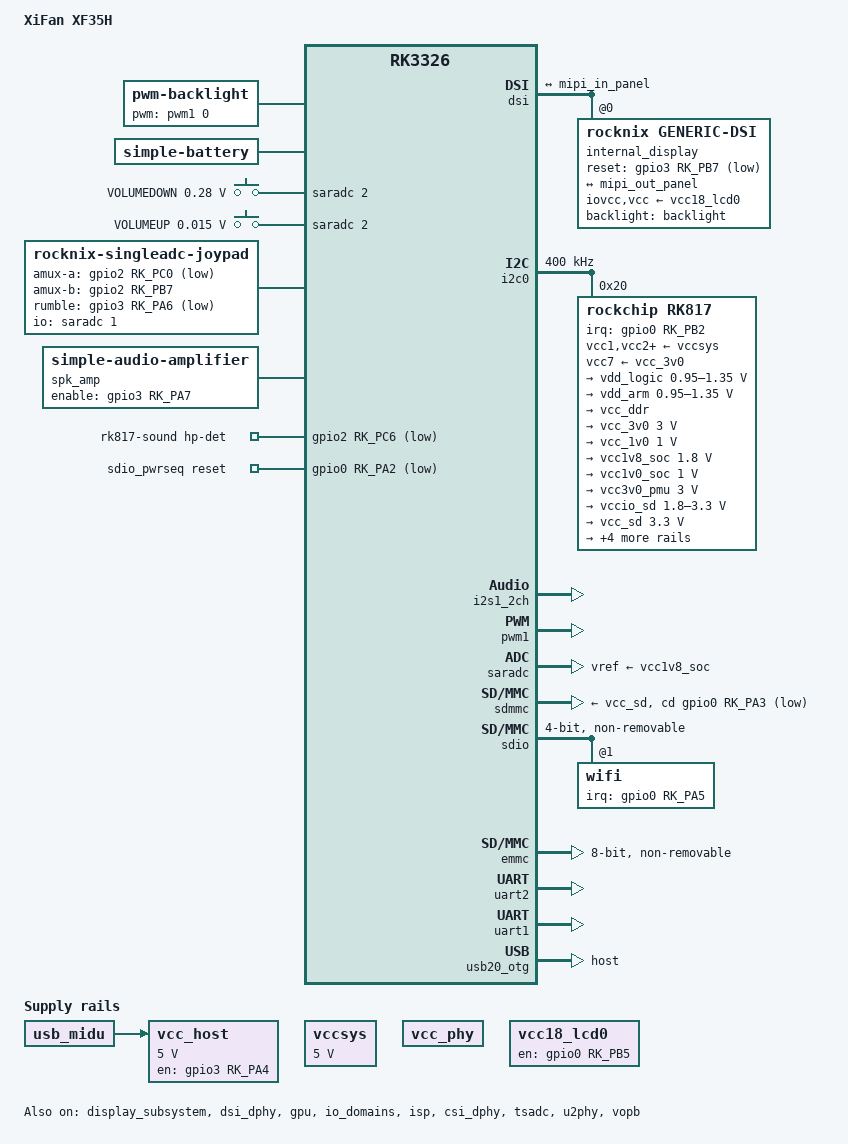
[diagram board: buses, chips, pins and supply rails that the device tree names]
// SPDX-License-Identifier: (GPL-2.0+ OR MIT)
/*
 * Copyright (c) 2019 Hardkernel Co., Ltd
 * Copyright (c) 2020 Theobroma Systems Design und Consulting GmbH
 * Copyright (c) 2022 Maya Matuszczyk <maccraft123mc@gmail.com>
 */

/dts-v1/;
#include <dt-bindings/gpio/gpio.h>
#include <dt-bindings/input/input.h>
#include <dt-bindings/leds/common.h>
#include <dt-bindings/pinctrl/rockchip.h>
#include "rk3326.dtsi"

/ {
    model = "XiFan XF35H";
    compatible = "xifan,xf35h", "rockchip,rk3326";
     
    aliases {
        mmc1 = &sdmmc;
	mmc0 = &emmc;
	mmc2 = &sdio;
    };

	chosen {
		systemd.debug_shell = "ttyS0";
	};

    backlight: backlight {
       compatible = "pwm-backlight";
       pwms = <&pwm1 0 25000 0>;
       brightness-levels = <
         0   1   2   3   4   5   6   7
         8   9  10  11  12  13  14  15
        16  17  18  19  20  21  22  23
        24  25  26  27  28  29  30  31
        32  33  34  35  36  37  38  39
        40  41  42  43  44  45  46  47
        48  49  50  51  52  53  54  55
        56  57  58  59  60  61  62  63
        64  65  66  67  68  69  70  71
        72  73  74  75  76  77  78  79
        80  81  82  83  84  85  86  87
        88  89  90  91  92  93  94  95
        96  97  98  99 100 101 102 103
       104 105 106 107 108 109 110 111
       112 113 114 115 116 117 118 119
       120 121 122 123 124 125 126 127
       128 129 130 131 132 133 134 135
       136 137 138 139 140 141 142 143
       144 145 146 147 148 149 150 151
       152 153 154 155 156 157 158 159
       160 161 162 163 164 165 166 167
       168 169 170 171 172 173 174 175
       176 177 178 179 180 181 182 183
       184 185 186 187 188 189 190 191
       192 193 194 195 196 197 198 199
       200 201 202 203 204 205 206 207
       208 209 210 211 212 213 214 215
       216 217 218 219 220 221 222 223
       224 225 226 227 228 229 230 231
       232 233 234 235 236 237 238 239
       240 241 242 243 244 245 246 247
       248 249 250 251 252 253 254 255>;
       default-brightness-level = <128>;
    };

    battery: battery {
        compatible = "simple-battery";
        charge-full-design-microamp-hours = <3000000>;
        charge-term-current-microamp = <200000>;
        constant-charge-current-max-microamp = <1500000>;
        constant-charge-voltage-max-microvolt = <4200000>;
        factory-internal-resistance-micro-ohms = <100000>;
        voltage-max-design-microvolt = <4100000>;
        voltage-min-design-microvolt = <3300000>;

        ocv-capacity-celsius = <20>;
        ocv-capacity-table-0 =  
            <4046950 100>, <4001920 95>, <3967900 90>, <3940000 85>,
            <3910000 80>, <3870000 75>, <3830000 70>, <3790000 65>,
            <3750000 60>, <3720000 55>, <3690000 50>, <3650000 45>,
            <3610000 40>, <3570000 35>, <3540000 30>, <3500000 25>,
            <3460000 20>, <3420000 15>, <3380000 10>, <3340000 5>,
            <3300000 0>;
    };

	adc_keys: adc-keys {
		compatible = "adc-keys";
		io-channels = <&saradc 2>;
		io-channel-names = "buttons";
		keyup-threshold-microvolt = <1800000>;
		poll-interval = <60>;

		vol-down-key {
		           label = "VOLUMEDOWN";
		           linux,code = <KEY_VOLUMEDOWN>;
			press-threshold-microvolt = <280000>;
		};

		vol-up-key {
		           label = "VOLUMEUP";
		           linux,code = <KEY_VOLUMEUP>;
			press-threshold-microvolt = <15000>;
		};
	};

	joypad: rocknix-singleadc-joypad {
		compatible = "rocknix-singleadc-joypad";

		joypad-name = "retrogame_joypad";
		joypad-product = <0x1101>;
		joypad-revision = <0x0100>;
		joypad-vendor = <0x484B>;

		status = "okay";

		/* gpio pincontrol setup */
                pinctrl-names = "default";
                pinctrl-0 = <&btn_pins_ctrl>;

		/* Analog mux define */
		io-channel-names = "amux_adc";
		io-channels = <&saradc 1>;

		/* adc mux channel count */
		amux-count = <4>;
		amux-channel-mapping = <2 3 1 0>;
		/* adc mux select(a,b) gpio */
		amux-a-gpios = <&gpio2 RK_PC0 GPIO_ACTIVE_LOW>;
		amux-b-gpios = <&gpio2 RK_PB7 GPIO_ACTIVE_HIGH>;
		/* adc mux enable gpio */
		// amux-en-gpios = <&gpio2 RK_PB4 GPIO_ACTIVE_LOW>;

		rumble-gpio = <&gpio3 RK_PA6 GPIO_ACTIVE_LOW>;

		/* adc calculate scale */
		button-adc-scale = <2>;

		/* adc deadzone range  */
		button-adc-deadzone = <64>;

		/*
		  specifies fuzz value that is used to filter noise from
		  the event stream.
		*/
		button-adc-fuzz = <32>;
		button-adc-flat = <32>;

		/*
		  Analog Stick data tuning value(precent)
		  p = positive direction, n = negative direction
		  report value = (real_adc_data * tuning_value) / 100
		*/
		abs_x-p-tuning = <200>;
		abs_x-n-tuning = <200>;

		abs_y-p-tuning = <200>;
		abs_y-n-tuning = <200>;

		abs_rx-p-tuning = <200>;
		abs_rx-n-tuning = <200>;

		abs_ry-p-tuning = <200>;
		abs_ry-n-tuning = <200>;

		/* poll device interval (ms), adc read interval */
		poll-interval = <10>;

		/* required for RG351MP */
		invert-absx;
		invert-absy;
    
        /* gpio button auto repeat set value : default disable */
        /*
        autorepeat;
        */

        /*
        *** MagicX XU10 - layoout ***
        |-------------------------------|
        | sw14  sw17         sw16  sw15 |
        |-----|-------------------|-----|
        |     |                   |     |
        |vol+ |                   | sw13|
        |vol- |                   |     |
        |     |    LCD Display    |     |
        |     |                   |     |
        |     |                   |     |
        |     |-------------------|     |
        |         sw9     sw10          |
        |                               |
        |     sw1              sw7      |
        |  sw3   sw4        sw8   sw6   |
        |     sw2              sw5      |
        |                               |
        |          sw11   sw12          |
        |                               |
        |-------|---------------|-------|
        */

       /*
           joypad driver is poll-device driver.
           poll-device is does not support wakeup-source.
       */
		sw1 {
			gpios = <&gpio3 RK_PC6 GPIO_ACTIVE_LOW>;
			label = "GPIO DPAD-UP";
			linux,code = <BTN_DPAD_UP>;
		};
		sw2 {
			gpios = <&gpio3 RK_PC7 GPIO_ACTIVE_LOW>;
			label = "GPIO DPAD-DOWN";
			linux,code = <BTN_DPAD_DOWN>;
		};
		sw3 {
			gpios = <&gpio3 RK_PC4 GPIO_ACTIVE_LOW>;
			label = "GPIO DPAD-LEFT";
			linux,code = <BTN_DPAD_LEFT>;
		};
		sw4 {
			gpios = <&gpio3 RK_PC5 GPIO_ACTIVE_LOW>;
			label = "GPIO DPAD-RIGHT";
			linux,code = <BTN_DPAD_RIGHT>;
		};
		sw5 {
			gpios = <&gpio3 RK_PC0 GPIO_ACTIVE_LOW>;
			label = "GPIO BTN-A";
			linux,code = <BTN_EAST>;
		};
		sw6 {
			gpios = <&gpio3 RK_PC1 GPIO_ACTIVE_LOW> ;
			label = "GPIO BTN-B";
			linux,code = <BTN_SOUTH>;
		};
		sw7 {
			gpios = <&gpio3 RK_PC3 GPIO_ACTIVE_LOW>;
			label = "GPIO BTN-Y";
			linux,code = <BTN_WEST>;
		};
		sw8 {
			gpios = <&gpio3 RK_PC2 GPIO_ACTIVE_LOW>;
			label = "GPIO BTN-X";
			linux,code = <BTN_NORTH>;
		};
		sw9 {
			gpios = <&gpio3 RK_PD0 GPIO_ACTIVE_LOW>;
			label = "BTN_SELECT";
			linux,code = <BTN_SELECT>;
		};
		sw10 {
			gpios = <&gpio3 RK_PD1 GPIO_ACTIVE_LOW>;
			label = "BTN_START";
			linux,code = <BTN_START>;
		};
		/* this sw11 entry is SPECIAL, most RK3566 devices do not have
		   this physical button but for the sake of keeping compatibility
		   with ES and retroarch, this phantom button and offset will
		   allow existing userspace programs to work without doing any
		   new remapping thus saving lots of headaches and extra work */
		sw11 {
			gpios = <&gpio3 RK_PB2 GPIO_ACTIVE_LOW>;
			label = "GPIO BTN_F";
			linux,code = <BTN_MODE>;
		};
		sw12 {
			gpios = <&gpio2 RK_PB5 GPIO_ACTIVE_LOW>;
			label = "BTN_THUMBL";
			linux,code = <BTN_THUMBL>;
		};
		sw13 {
			gpios = <&gpio2 RK_PB6 GPIO_ACTIVE_LOW>;
			label = "BTN_THUMBR";
			linux,code = <BTN_THUMBR>;
		};
		sw14 {
			gpios = <&gpio3 RK_PB3 GPIO_ACTIVE_LOW>;
			label = "GPIO BTN_TR";
			linux,code = <BTN_TR>;
		};
		sw15 {
			gpios = <&gpio3 RK_PB4 GPIO_ACTIVE_LOW>;
			label = "GPIO BTN_TR2";
			linux,code = <BTN_TR2>;
		};
		sw16 {
			gpios = <&gpio3 RK_PB5 GPIO_ACTIVE_LOW>;
			label = "GPIO BTN_TL";
			linux,code = <BTN_TL>;
		};
		sw17 {
			gpios = <&gpio3 RK_PB6 GPIO_ACTIVE_LOW>;
			label = "GPIO BTN_TL2";
			linux,code = <BTN_TL2>;
		};
	};

	spk_amp: audio-amplifier {
		compatible = "simple-audio-amplifier";
		enable-gpios = <&gpio3 RK_PA7 GPIO_ACTIVE_HIGH>;
		pinctrl-0 = <&spk_amp_enable_h>;
		pinctrl-names = "default";
		sound-name-prefix = "Speaker Amp";
	};

    rk817-sound {
       compatible = "simple-audio-card";
       pinctrl-names = "default";
       pinctrl-0 = <&hp_det>;
       simple-audio-card,name = "rk817_ext";
       simple-audio-card,aux-devs = <&spk_amp>;
       simple-audio-card,format = "i2s";
       simple-audio-card,hp-det-gpio = <&gpio2 RK_PC6 GPIO_ACTIVE_LOW>;
       simple-audio-card,mclk-fs = <256>;
       simple-audio-card,widgets =
           "Microphone", "Mic Jack",
           "Headphone", "Headphones",
           "Speaker", "Speaker";
       simple-audio-card,routing =
           "MICL", "Mic Jack",
           "Headphones", "HPOL",
           "Headphones", "HPOR",
           "Speaker", "SPKO";

       simple-audio-card,codec {
           sound-dai = <&rk817>;
       };

       simple-audio-card,cpu {
           sound-dai = <&i2s1_2ch>;
       };
    };

    vccsys: vccsys {
       compatible = "regulator-fixed";
       regulator-name = "vcc3v8_sys";
       regulator-always-on;
       regulator-boot-on;
       regulator-min-microvolt = <5000000>;
       regulator-max-microvolt = <5000000>;
    };

	vcc-phy-regulator {
		compatible = "regulator-fixed";
		regulator-name = "vcc_phy";
		regulator-always-on;
		regulator-boot-on;
	};

	vcc18_lcd0: vcc18-lcd0 {
		compatible = "regulator-fixed";
		regulator-name = "vcc18_lcd0_n";
		gpio = <&gpio0 RK_PB5 GPIO_ACTIVE_HIGH>;
		enable-active-high;
		pinctrl-0 = <&vcc18_lcd_n>;
		pinctrl-names = "default";
		regulator-boot-on;

		regulator-state-mem {
			regulator-off-in-suspend;
		};
	};
    
    vcc_host: vcc_host {
        compatible = "regulator-fixed";
        regulator-name = "vcc_host";
        regulator-min-microvolt = <5000000>;
        regulator-max-microvolt = <5000000>;
        gpio = <&gpio3 RK_PA4 GPIO_ACTIVE_HIGH>;
	pinctrl-0 = <&vcc5_usb>;
	pinctrl-names = "default";
        enable-active-high;
        regulator-always-on;
        regulator-boot-on;
        vin-supply = <&usb_midu>;
    };

	sdio_pwrseq: sdio-pwrseq {
		compatible = "mmc-pwrseq-simple";
		/*clocks = <&rk817 1>;
		clock-names = "ext_clock";
		*/
		pinctrl-0 = <&wifi_enable_h>;
		pinctrl-names = "default";
		post-power-on-delay-ms = <2000>;
		reset-gpios = <&gpio0 RK_PA2 GPIO_ACTIVE_LOW>;
	};
};

&dmc {
    center-supply = <&vdd_logic>;
};

&cpu0 {
    cpu-supply = <&vdd_arm>;
};

&cpu1 {
    cpu-supply = <&vdd_arm>;
};

&cpu2 {
    cpu-supply = <&vdd_arm>;
};

&cpu3 {
    cpu-supply = <&vdd_arm>;
};

&cru {
    assigned-clocks = <&cru PLL_NPLL>,
        <&cru ACLK_BUS_PRE>, <&cru ACLK_PERI_PRE>,
        <&cru HCLK_BUS_PRE>, <&cru HCLK_PERI_PRE>,
        <&cru PCLK_BUS_PRE>, <&cru SCLK_GPU>;

    assigned-clock-rates = <1188000000>,
        <200000000>, <200000000>,
        <150000000>, <150000000>,
        <100000000>, <200000000>;
};

&display_subsystem {
    status = "okay";
};

&dsi {
    status = "okay";

    ports {
        mipi_out: port@1 {
          reg = <1>;

          mipi_out_panel: endpoint {
              remote-endpoint = <&mipi_in_panel>;
          };
        };
    };

    internal_display: panel@0 {
	compatible = "rocknix,generic-dsi";
        iovcc-supply = <&vcc18_lcd0>;
        vcc-supply = <&vcc18_lcd0>;
        reg = <0>;
        backlight = <&backlight>;
        reset-gpios = <&gpio3 RK_PB7 GPIO_ACTIVE_LOW>;
        pinctrl-names = "default";
        pinctrl-0 = <&lcd_rst>;
            panel_description =
                "G size=153,85 delays=20,20,20,120,20 format=rgb888 lanes=4 flags=0xe03",

                "M clock=30000 horizontal=640,150,50,150 vertical=480,20,6,12 default=1",
                "M clock=30000 horizontal=640,150,61,150 vertical=480,20,88,12",
                "M clock=30000 horizontal=640,150,60,150 vertical=480,20,88,12",
                "M clock=30010 horizontal=640,150,72,150 vertical=480,20,81,12",
                "M clock=30130 horizontal=640,150,60,150 vertical=480,20,12,12",
                "M clock=35920 horizontal=640,150,59,150 vertical=480,20,90,12",
                "M clock=31440 horizontal=640,150,61,150 vertical=480,20,12,12",
                "M clock=31080 horizontal=640,150,60,150 vertical=480,20,6,12",
                "M clock=32750 horizontal=640,150,96,150 vertical=480,20,14,12",
                "M clock=45250 horizontal=640,150,66,150 vertical=480,20,84,12",
                "M clock=46620 horizontal=640,150,60,150 vertical=480,20,6,12",
                "M clock=62160 horizontal=640,150,60,150 vertical=480,20,6,12",

                "I seq=b9f11283",
                "I seq=b1000000da80",
                "I seq=b2001370",
                "I seq=b31010282803ff00000000",
                "I seq=b480",
                "I seq=b50a0a",
                "I seq=b68282",
                "I seq=b82662f063",
                "I seq=ba338105f90e0e2000000000000000442500900a0000014f01000037",
                "I seq=bc47",
                "I seq=bf021100",
                "I seq=c0737350500000125000",
                "I seq=c15300323277d1cccc77773333",
                "I seq=c68200bfff00ff",
                "I seq=c7b8000a000000",
                "I seq=c810401e02",
                "I seq=cc0b",
                "I seq=e000070d37353f4144060c0d0f111012141a00070d37353f4144060c0d0f111012141a",
                "I seq=e307070b0b0b0b00000000ff00c010",
                "I seq=e9c810020000b0b11131232880b0b127080004020000000004020000008888ba60240888888888888888ba713518888888888800000001000000000000000000",
                "I seq=ea970a820203070000000000008188ba17538888888888888088ba0642888888888888230000028000000000000000000000000000000000000000000000",
                "I seq=efffff01",
                "I seq=11 wait=200",
                "I seq=29 wait=20";
        port {
            mipi_in_panel: endpoint {
                remote-endpoint = <&mipi_out_panel>;
            };
        };
    };
};

&dsi_dphy {
    status = "okay";
};

&gpu {
    mali-supply = <&vdd_logic>;
    status = "okay";
};

&i2c0 {
    clock-frequency = <400000>;
    i2c-scl-falling-time-ns = <16>;
    i2c-scl-rising-time-ns = <280>;
    status = "okay";

    rk817: pmic@20 {
        compatible = "rockchip,rk817";
        reg = <0x20>;
        interrupt-parent = <&gpio0>;
        interrupts = <RK_PB2 IRQ_TYPE_LEVEL_LOW>;
        clock-output-names = "rk808-clkout1", "xin32k";
        clock-names = "mclk";
        clocks = <&cru SCLK_I2S1_OUT>;
        pinctrl-names = "default";
        pinctrl-0 = <&pmic_int>, <&i2s1_2ch_mclk>;
        rockchip,system-power-controller;
        wakeup-source;
        #clock-cells = <1>;
        #sound-dai-cells = <0>;

        vcc1-supply = <&vccsys>;
        vcc2-supply = <&vccsys>;
        vcc3-supply = <&vccsys>;
        vcc4-supply = <&vccsys>;
        vcc5-supply = <&vccsys>;
        vcc6-supply = <&vccsys>;
        vcc7-supply = <&vcc_3v0>;
        vcc8-supply = <&vccsys>;

    regulators {
        vdd_logic: DCDC_REG1 {
              regulator-name = "vdd_logic";
              regulator-min-microvolt = <950000>;
              regulator-max-microvolt = <1350000>;
	      regulator-initial-mode = <0x02>;
              regulator-ramp-delay = <6001>;
              regulator-always-on;
              regulator-boot-on;

              regulator-state-mem {
                  regulator-on-in-suspend;
                  regulator-suspend-microvolt = <950000>;
              };
        };

        vdd_arm: DCDC_REG2 {
              regulator-name = "vdd_arm";
              regulator-min-microvolt = <950000>;
              regulator-max-microvolt = <1350000>;
              regulator-ramp-delay = <6001>;
	      regulator-initial-mode = <0x02>;
              regulator-always-on;
              regulator-boot-on;

              regulator-state-mem {
                  regulator-off-in-suspend;
                  regulator-suspend-microvolt = <950000>;
              };
        };

        vcc_ddr: DCDC_REG3 {
              regulator-name = "vcc_ddr";
              regulator-always-on;
              regulator-boot-on;
	      regulator-initial-mode = <0x02>;

              regulator-state-mem {
                  regulator-on-in-suspend;
              };
        };

        vcc_3v0: DCDC_REG4 {
              regulator-name = "vcc_3v0";
              regulator-min-microvolt = <3000000>;
              regulator-max-microvolt = <3000000>;
	      regulator-initial-mode = <0x02>;
              regulator-always-on;
              regulator-boot-on;

              regulator-state-mem {
                  regulator-off-in-suspend;
                  regulator-suspend-microvolt = <3000000>;
              };
        };

        vcc_1v0: LDO_REG1 {
              regulator-name = "vcc_1v0";
              regulator-always-on;
              regulator-boot-on;
              regulator-min-microvolt = <1000000>;
              regulator-max-microvolt = <1000000>;

              regulator-state-mem {
                  regulator-on-in-suspend;
                  regulator-suspend-microvolt = <1000000>;
              };
        };

        vcc1v8_soc: LDO_REG2 {
              regulator-name = "vcc1v8_soc";
              regulator-min-microvolt = <1800000>;
              regulator-max-microvolt = <1800000>;
              regulator-always-on;
              regulator-boot-on;

              regulator-state-mem {
                  regulator-on-in-suspend;
                  regulator-suspend-microvolt = <1800000>;
              };
        };

        vcc1v0_soc: LDO_REG3 {
              regulator-name = "vcc1v0_soc";
              regulator-min-microvolt = <1000000>;
              regulator-max-microvolt = <1000000>;
              regulator-always-on;
              regulator-boot-on;

              regulator-state-mem {
                  regulator-on-in-suspend;
                  regulator-suspend-microvolt = <1000000>;
              };
        };

        vcc3v0_pmu: LDO_REG4 {
              regulator-name = "vcc3v0_pmu";
              regulator-min-microvolt = <3000000>;
              regulator-max-microvolt = <3000000>;
              regulator-always-on;
              regulator-boot-on;

              regulator-state-mem {
                  regulator-on-in-suspend;
                  regulator-suspend-microvolt = <3000000>;
              };
        };

        vccio_sd: LDO_REG5 {
              regulator-name = "vccio_sd";
              regulator-min-microvolt = <1800000>;
              regulator-max-microvolt = <3300000>;
              regulator-always-on;
              regulator-boot-on;

              regulator-state-mem {
                  regulator-on-in-suspend;
                  regulator-suspend-microvolt = <3300000>;
              };
        };

        vcc_sd: LDO_REG6 {
              regulator-name = "vcc_sd";
              regulator-min-microvolt = <3300000>;
              regulator-max-microvolt = <3300000>;

              regulator-state-mem {
                  regulator-on-in-suspend;
                  regulator-suspend-microvolt = <3300000>;
              };
        };

        vcc2v8_dvp: LDO_REG7 {
              regulator-name = "vcc2v8_dvp";
              regulator-min-microvolt = <1800000>;
              regulator-max-microvolt = <3300000>;
              regulator-always-on;
              regulator-boot-on;

              regulator-state-mem {
              regulator-on-in-suspend;
                  regulator-suspend-microvolt = <3300000>;
              };
        };

        vcc3v0_dvp: LDO_REG8 {
              regulator-name = "vcc3v0_dvp";
              regulator-min-microvolt = <3300000>;
              regulator-max-microvolt = <3300000>;
              regulator-always-on;
              regulator-boot-on;

              regulator-state-mem {
                  regulator-on-in-suspend;
                  regulator-suspend-microvolt = <3300000>;
              };
        };

        vdd1v5_dvp: LDO_REG9 {
              regulator-min-microvolt = <1500000>;
              regulator-max-microvolt = <1500000>;
              regulator-name = "vdd1v5_dvp";
              regulator-always-on;
              regulator-boot-on;

              regulator-state-mem {
                  regulator-off-in-suspend;
                  regulator-suspend-microvolt = <1500000>;
              };
        };

        usb_midu: BOOST {
              regulator-name = "usb_midu";
              regulator-min-microvolt = <4700000>;
              regulator-max-microvolt = <5400000>;
              regulator-always-on;
              regulator-boot-on;
        };

    };

    rk817_charger: charger {
         monitored-battery = <&battery>;
         rockchip,resistor-sense-micro-ohms = <10000>;
         rockchip,sleep-enter-current-microamp = <300000>;
         rockchip,sleep-filter-current-microamp = <100000>;
    };

    rk817_codec: codec {
         rockchip,mic-in-differential;
    };
  };
};

/* I2S 1 Channel Used Header(P2):1(GPIO2.C3),2(.C2), 3(.C1), 4(.C5), 5(.C4) */
&i2s1_2ch {
    status = "okay";
    #sound-dai-cells = <0>;
};

&io_domains {
    vccio1-supply = <&vcc2v8_dvp>;
    vccio2-supply = <&vccio_sd>;
    vccio3-supply = <&vcc1v8_soc>;
    vccio4-supply = <&vcc_3v0>;
    vccio5-supply = <&vcc_3v0>;
    vccio6-supply = <&vcc1v8_soc>;
    status = "okay";
};

&isp {
    status = "okay";
};

&isp_mmu {
    status = "okay";
};

&pmu_io_domains {
    pmuio1-supply = <&vcc3v0_pmu>;
    pmuio2-supply = <&vcc3v0_pmu>;
    status = "okay";
};

&csi_dphy {
    status = "okay";
};

&pwm1 {
    status = "okay";
};

&saradc {
    vref-supply = <&vcc1v8_soc>;
    status = "okay";
};

&sdmmc {
    cap-sd-highspeed;
    card-detect-delay = <200>;
    cd-gpios = <&gpio0 RK_PA3 GPIO_ACTIVE_LOW>; /*[> ff370000 PD_SDCARD CD GPIO <]*/
    sd-uhs-sdr12;
    sd-uhs-sdr25;
    sd-uhs-sdr50;
    sd-uhs-sdr104;
    vmmc-supply = <&vcc_sd>;
    vqmmc-supply = <&vccio_sd>;
    status = "okay";
};

&sdio {
	bus-width = <4>;
	disable-wp;
	max-frequency = <0x2faf080>;
	keep-power-in-suspend;
	mmc-pwrseq = <&sdio_pwrseq>;
	no-mmc;
	no-sd;
	cap-sdio-irq;
	non-removable;
	cap-sd-highspeed;
	supports-sdio;
	supports-rk912;
	status = "okay";
    wifi@1 {
        reg = <1>;
        interrupt-names = "host-wake";
        interrupt-parent = <&gpio0>;
        interrupts = <RK_PA5 IRQ_TYPE_LEVEL_HIGH>;
        pinctrl-0 = <&wifi_host_wake_l>;
        pinctrl-names = "default";
    };
};

&emmc {
	no-sdio;
	no-sd;
	disable-wp;
	cap-mmc-highspeed;
	non-removable;
	bus-width = <0x08>;
	fifo-depth = <0x100>;
	max-frequency = <0x8f0d180>;
	num-slots = <0x01>; 
	status = "okay";
};

&tsadc {
    status = "okay";
};

&u2phy {
    status = "okay";

    u2phy_host: host-port {
        status = "okay";
    };

    u2phy_otg: otg-port {
        status = "okay";
    };
};

/* FIQ Header(P2): 2(RXD:GPIO2.B4),3(TXD:.B6) */
&uart2 {
    status = "okay";
    dma-names = "tx";
    pinctrl-0 = <&uart2m1_xfer>;
};

&uart1 {
    status = "okay";
};

&usb20_otg {
    status = "okay";
    dr_mode = "host";
};

&vopb {
    status = "okay";
};

&vopb_mmu {
    status = "okay";
};

&uart2m1_xfer {
	    rockchip,pins = <2 RK_PB4 2 &pcfg_pull_up>;
};

&pinctrl {
      btns {
	btn_pins_ctrl: btn-pins-ctrl {
		rockchip,pins =
			<3 RK_PC6 RK_FUNC_GPIO &pcfg_pull_up>,
			<3 RK_PC7 RK_FUNC_GPIO &pcfg_pull_up>,
			<3 RK_PC0 RK_FUNC_GPIO &pcfg_pull_up>,
			<3 RK_PC1 RK_FUNC_GPIO &pcfg_pull_up>,
			<3 RK_PC2 RK_FUNC_GPIO &pcfg_pull_up>,
			<3 RK_PC3 RK_FUNC_GPIO &pcfg_pull_up>,
			<3 RK_PC4 RK_FUNC_GPIO &pcfg_pull_up>,
			<3 RK_PC5 RK_FUNC_GPIO &pcfg_pull_up>,
			<3 RK_PD1 RK_FUNC_GPIO &pcfg_pull_up>,
			<3 RK_PB6 RK_FUNC_GPIO &pcfg_pull_up>,
			<3 RK_PD0 RK_FUNC_GPIO &pcfg_pull_up>,
			<3 RK_PB3 RK_FUNC_GPIO &pcfg_pull_up>,
			<3 RK_PB4 RK_FUNC_GPIO &pcfg_pull_up>,
			<3 RK_PB5 RK_FUNC_GPIO &pcfg_pull_up>,
			<3 RK_PB2 RK_FUNC_GPIO &pcfg_pull_up>,
			/*<2 RK_PB4 RK_FUNC_GPIO &pcfg_pull_up>,*/
			<2 RK_PB5 RK_FUNC_GPIO &pcfg_pull_up>,
			<2 RK_PB6 RK_FUNC_GPIO &pcfg_pull_up>,
			<2 RK_PB7 RK_FUNC_GPIO &pcfg_pull_up>,
			<2 RK_PC0 RK_FUNC_GPIO &pcfg_pull_up>,
			<3 RK_PA6 RK_FUNC_GPIO &pcfg_pull_down>;
	};

/*		btn_pins_vol: btn-pins-vol {
			rockchip,pins = <3 RK_PD2 RK_FUNC_GPIO &pcfg_pull_up>,
					<3 RK_PD3 RK_FUNC_GPIO &pcfg_pull_up>;
		};*/
      };

    headphone {
        hp_det: hp-det {
            rockchip,pins = <2 RK_PC6 RK_FUNC_GPIO &pcfg_pull_up>;
        };
    };

    gpio-lcd {
        lcd_rst: lcd-rst {
            rockchip,pins = <3 RK_PB7 RK_FUNC_GPIO &pcfg_pull_none>;
        };
    };

    vcc18-lcd {
        vcc18_lcd_n: vcc18-lcd-n {
            rockchip,pins = <3 RK_PA3 RK_FUNC_GPIO &pcfg_pull_none>;
        };
    };

    vcc5-usb {
        vcc5_usb: vcc5-usb {
            rockchip,pins = <3 RK_PA4 RK_FUNC_GPIO &pcfg_pull_none>;
        };
    };

    gpio-led {
        led_pins: led-pins {
            rockchip,pins =
                <0 RK_PC1 RK_FUNC_GPIO &pcfg_pull_none>,
                <0 RK_PA0 RK_FUNC_GPIO &pcfg_pull_none>;
        };
    };

    pmic {
        dc_det: dc-det {
            rockchip,pins = <0 RK_PB3 RK_FUNC_GPIO &pcfg_pull_none>;
        };

        pmic_int: pmic-int {
            rockchip,pins = <0 RK_PB2 RK_FUNC_GPIO &pcfg_pull_up>;
        };

        soc_slppin_gpio: soc_slppin_gpio {
            rockchip,pins = <0 RK_PA4 RK_FUNC_GPIO &pcfg_output_low>;
        };

        soc_slppin_rst: soc_slppin_rst {
            rockchip,pins = <0 RK_PA4 2 &pcfg_pull_none>;
        };

        soc_slppin_slp: soc_slppin_slp {
            rockchip,pins = <0 RK_PA4 1 &pcfg_pull_none>;
        };
   };

	speaker {
		spk_amp_enable_h: spk-amp-enable-h {
			rockchip,pins =
				<3 RK_PA7 RK_FUNC_GPIO &pcfg_pull_none>;
		};
	};
	sdio-pwrseq {
		wifi_enable_h: wifi-enable-h {
			rockchip,pins =
				<0 RK_PA2 RK_FUNC_GPIO &pcfg_pull_none>;
		};
	        wifi_host_wake_l: wifi-host-wake-l {
	            rockchip,pins = <0 RK_PA5 RK_FUNC_GPIO &pcfg_pull_down>;
	        };
	};
};
